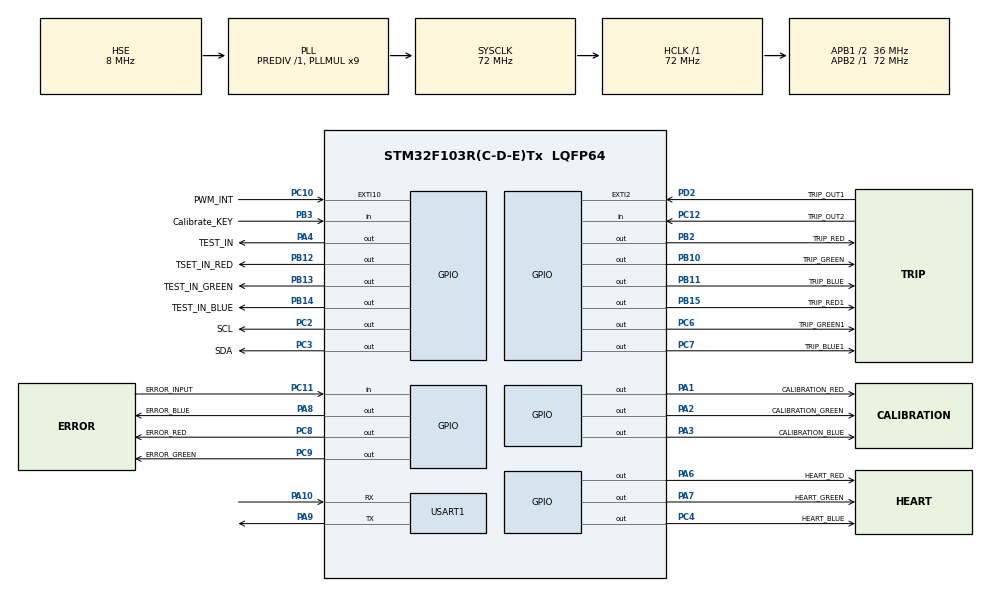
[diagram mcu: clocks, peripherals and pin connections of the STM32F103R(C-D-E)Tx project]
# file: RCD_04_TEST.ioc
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Mcu.Family=STM32F1
Mcu.Name=STM32F103R(C-D-E)Tx
Mcu.Package=LQFP64
NVIC.EXTI15_10_IRQn=true\:0\:0\:false\:false\:true\:true\:true\:true
NVIC.EXTI2_IRQn=true\:0\:0\:true\:false\:true\:true\:true\:true
NVIC.PriorityGroup=NVIC_PRIORITYGROUP_4
PA1.GPIO_Label=CALIBRATION_RED
PA1.PinState=GPIO_PIN_SET
PA1.Signal=GPIO_Output
PA10.Mode=Asynchronous
PA10.Signal=USART1_RX
PA13.Mode=Serial_Wire
PA13.Signal=SYS_JTMS-SWDIO
PA14.Mode=Serial_Wire
PA14.Signal=SYS_JTCK-SWCLK
PA2.GPIO_Label=CALIBRATION_GREEN
PA2.PinState=GPIO_PIN_SET
PA2.Signal=GPIO_Output
PA3.GPIO_Label=CALIBRATION_BLUE
PA3.PinState=GPIO_PIN_SET
PA3.Signal=GPIO_Output
PA4.GPIO_Label=TEST_IN
PA4.GPIO_PuPd=GPIO_PULLUP
PA4.GPIO_Speed=GPIO_SPEED_FREQ_HIGH
PA4.PinState=GPIO_PIN_SET
PA4.Signal=GPIO_Output
PA6.GPIO_Label=HEART_RED
PA6.PinState=GPIO_PIN_SET
PA6.Signal=GPIO_Output
PA7.GPIO_Label=HEART_GREEN
PA7.PinState=GPIO_PIN_SET
PA7.Signal=GPIO_Output
PA8.GPIO_Label=ERROR_BLUE
PA8.PinState=GPIO_PIN_SET
PA8.Signal=GPIO_Output
PA9.Mode=Asynchronous
PA9.Signal=USART1_TX
PB10.GPIO_Label=TRIP_GREEN
PB10.PinState=GPIO_PIN_SET
PB10.Signal=GPIO_Output
PB11.GPIO_Label=TRIP_BLUE
PB11.PinState=GPIO_PIN_SET
PB11.Signal=GPIO_Output
PB12.GPIO_Label=TSET_IN_RED
PB12.PinState=GPIO_PIN_SET
PB12.Signal=GPIO_Output
PB13.GPIO_Label=TEST_IN_GREEN
PB13.PinState=GPIO_PIN_SET
PB13.Signal=GPIO_Output
PB14.GPIO_Label=TEST_IN_BLUE
PB14.PinState=GPIO_PIN_SET
PB14.Signal=GPIO_Output
PB15.GPIO_Label=TRIP_RED1
PB15.PinState=GPIO_PIN_SET
PB15.Signal=GPIO_Output
PB2.GPIO_Label=TRIP_RED
PB2.PinState=GPIO_PIN_SET
PB2.Signal=GPIO_Output
PB3.GPIO_Label=Calibrate_KEY
PB3.GPIO_PuPd=GPIO_PULLDOWN
PB3.Signal=GPIO_Input
PC10.GPIO_Label=PWM_INT
PC10.GPIO_ModeDefaultEXTI=GPIO_MODE_IT_RISING_FALLING
PC10.GPIO_PuPd=GPIO_PULLDOWN
PC10.Signal=GPXTI10
PC11.GPIO_Label=ERROR_INPUT
PC11.GPIO_PuPd=GPIO_PULLDOWN
PC11.Signal=GPIO_Input
PC12.GPIO_Label=TRIP_OUT2
PC12.GPIO_PuPd=GPIO_PULLDOWN
PC12.Signal=GPIO_Input
PC2.GPIO_Label=SCL
PC2.GPIO_ModeDefaultOutputPP=GPIO_MODE_OUTPUT_OD
PC2.GPIO_PuPd=GPIO_PULLUP
PC2.GPIO_Speed=GPIO_SPEED_FREQ_HIGH
PC2.PinState=GPIO_PIN_SET
PC2.Signal=GPIO_Output
PC3.GPIO_Label=SDA
PC3.GPIO_ModeDefaultOutputPP=GPIO_MODE_OUTPUT_PP
PC3.GPIO_PuPd=GPIO_PULLUP
PC3.GPIO_Speed=GPIO_SPEED_FREQ_HIGH
PC3.PinState=GPIO_PIN_SET
PC3.Signal=GPIO_Output
PC4.GPIO_Label=HEART_BLUE
PC4.PinState=GPIO_PIN_SET
PC4.Signal=GPIO_Output
PC6.GPIO_Label=TRIP_GREEN1
PC6.PinState=GPIO_PIN_SET
PC6.Signal=GPIO_Output
PC7.GPIO_Label=TRIP_BLUE1
PC7.PinState=GPIO_PIN_SET
PC7.Signal=GPIO_Output
PC8.GPIO_Label=ERROR_RED
PC8.PinState=GPIO_PIN_SET
PC8.Signal=GPIO_Output
PC9.GPIO_Label=ERROR_GREEN
PC9.PinState=GPIO_PIN_SET
PC9.Signal=GPIO_Output
PD0-OSC_IN.Mode=HSE-External-Oscillator
PD0-OSC_IN.Signal=RCC_OSC_IN
PD1-OSC_OUT.Mode=HSE-External-Oscillator
PD1-OSC_OUT.Signal=RCC_OSC_OUT
PD2.GPIO_Label=TRIP_OUT1
PD2.GPIO_ModeDefaultEXTI=GPIO_MODE_IT_RISING_FALLING
PD2.GPIO_PuPd=GPIO_PULLDOWN
PD2.Signal=GPXTI2
ProjectManager.HeapSize=0x200
ProjectManager.StackSize=0x400
ProjectManager.TargetToolchain=STM32CubeIDE
RCC.AHBFreq_Value=72000000
RCC.APB1CLKDivider=RCC_HCLK_DIV2
RCC.APB1Freq_Value=36000000
RCC.APB1TimFreq_Value=72000000
RCC.APB2Freq_Value=72000000
RCC.APB2TimFreq_Value=72000000
RCC.HCLKFreq_Value=72000000
RCC.PLLMUL=RCC_PLL_MUL9
RCC.PLLSourceVirtual=RCC_PLLSOURCE_HSE
RCC.SYSCLKFreq_VALUE=72000000
RCC.SYSCLKSource=RCC_SYSCLKSOURCE_PLLCLK
RCC.USBFreq_Value=72000000
TIM1.Period=1000
TIM1.Prescaler=72-1
TIM2.AutoReloadPreload=TIM_AUTORELOAD_PRELOAD_DISABLE
TIM2.Prescaler=7200-1
USART1.VirtualMode=VM_ASYNC
VP_TIM1_VS_ClockSourceINT.Mode=Internal
VP_TIM2_VS_ClockSourceINT.Mode=Internal
board=custom

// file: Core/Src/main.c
/* USER CODE BEGIN Header */
/**
  ******************************************************************************
  * @file           : main.c
  * @brief          : Main program body
  ******************************************************************************
  * @attention
  *
  * Copyright (c) 2024 STMicroelectronics.
  * All rights reserved.
  *
  * This software is licensed under terms that can be found in the LICENSE file
  * in the root directory of this software component.
  * If no LICENSE file comes with this software, it is provided AS-IS.
  *
  ******************************************************************************
  */
/* USER CODE END Header */
#include "main.h"
#include "tim.h"
#include "usart.h"
#include "gpio.h"

/* USER CODE BEGIN Includes */
#include <stdio.h>
#include "oledbmp.h"
#include "bmp.h"
#include "oled_drive.h"
#include "led.h"
#include "stm32f1xx_it.h"
/* USER CODE END Includes */

/* USER CODE BEGIN PD */
void HAL_usDelay(uint32_t udelay);
void HAL_msDelay(uint32_t udelay);
/* USER CODE END PD */

/* USER CODE BEGIN PM */
#define FALSE 0
#define TRUE 1

#define SCL_H HAL_GPIO_WritePin(GPIOC, SCL_Pin, GPIO_PIN_SET)
#define SCL_L HAL_GPIO_WritePin(GPIOC, SCL_Pin, GPIO_PIN_RESET)

#define SDA_H HAL_GPIO_WritePin(GPIOC, SDA_Pin, GPIO_PIN_SET)
#define SDA_L HAL_GPIO_WritePin(GPIOC, SDA_Pin, GPIO_PIN_RESET)

#define SDA_read HAL_GPIO_ReadPin(GPIOC, SDA_Pin)

#define OLED_CMD 0
#define OLED_DATA 1
/* USER CODE END PM */

/* USER CODE BEGIN PV */
__IO float usDelayBase;
void PY_usDelayTest(void)
{
  __IO uint32_t firstms, secondms;
  __IO uint32_t counter = 0;

  firstms = HAL_GetTick()+1;
  secondms = firstms+1;

  while(uwTick!=firstms) ;

  while(uwTick!=secondms) counter++;

  usDelayBase = ((float)counter)/1000;
}

void PY_Delay_us_t(uint32_t Delay)
{
  __IO uint32_t delayReg;
  __IO uint32_t usNum = (uint32_t)(Delay*usDelayBase);

  delayReg = 0;
  while(delayReg!=usNum) delayReg++;
}

void PY_usDelayOptimize(void)
{
  __IO uint32_t firstms, secondms;
  __IO float coe = 1.0;

  firstms = HAL_GetTick();
  PY_Delay_us_t(1000000) ;
  secondms = HAL_GetTick();

  coe = ((float)1000)/(secondms-firstms);
  usDelayBase = coe*usDelayBase;
}

void PY_Delay_us(uint32_t Delay)
{
  __IO uint32_t delayReg;

  __IO uint32_t msNum = Delay/1000;
  __IO uint32_t usNum = (uint32_t)((Delay%1000)*usDelayBase);

  if(msNum>0) HAL_Delay(msNum);

  delayReg = 0;
  while(delayReg!=usNum) delayReg++;
}
/* USER CODE END PV */

void SystemClock_Config(void);

/* USER CODE BEGIN 0 */
void IIC_Init(void);
void IIC_Start(void);
void IIC_Stop(void);
void IIC_Send_Byte(uint8_t txd);
uint8_t IIC_Read_Byte(unsigned char ack);
uint8_t IIC_Wait_Ack(void);
void IIC_Ack(void);
void IIC_NAck(void);

#define SDA_IN()  my_SDA_IN()
#define SDA_OUT() my_SDA_OUT()

/* USER CODE END 0 */

int main(void)
{
  /* USER CODE BEGIN 1 */
  unsigned char high_time = 0;
  /* USER CODE END 1 */

  /* MCU Configuration--------------------------------------------------------*/

  /* Reset of all peripherals, Initializes the Flash interface and the Systick. */
  HAL_Init();

  /* Configure the system clock */
  SystemClock_Config();

  /* Initialize all configured peripherals */
  MX_GPIO_Init();
  MX_USART1_UART_Init();
  MX_TIM1_Init();
  MX_TIM2_Init();
  /* USER CODE BEGIN 2 */
  OLED_Init();

  /* USER CODE END 2 */

  /* Infinite loop */
  /* USER CODE BEGIN WHILE */
  PY_usDelayTest();
  PY_usDelayOptimize();

  OnOffLedLight(1,2,0);
  OnOffLedLight(2,2,0);
  OnOffLedLight(3,2,0);
  OnOffLedLight(4,2,0);
  OnOffLedLight(5,2,0);
  OnOffLedLight(6,2,0);

	OLED_Init();
	OLED_Clear();
	OLED_ShowString(0,0,"Current ",16);
	OLED_ShowString(0,2,"        XX.XXMA",12);

	HAL_TIM_Base_Start(&htim2);
  printf("init success\r\n");
//  test_in();

  while (1)
  {

	  if(HAL_GPIO_ReadPin(GPIOB, Calibrate_KEY_Pin) == 0)
	  {
		  HAL_msDelay(50);
		  while(HAL_GPIO_ReadPin(GPIOB, Calibrate_KEY_Pin) == 0);
		  test_in();

		  HAL_msDelay(3000);

		  if(Flag == 3)
		  {
			  OnOffLedLight(6,1,0); //Calibrate red
			  OnOffLedLight(6,2,1); //Calibrate green
		  }
		  else
		  {
			  Flag = 0;
			  OnOffLedLight(6,2,0);
		  }

		  printf("capture_start1: %ld\r\ncapture_start2: %ld\r\n",capture_start1,capture_start2);
		  printf("capture_end: %ld\r\n",capture_end1);
//		  printf("capture_time1: %ld\r\ncapture_time2: %ld\r\n",capture_time1,capture_time2);
		  printf("pwm_time: %d\r\n",Counter);

//		  printf("capture_time2 %d\r\n",capture_time2);

	  }

//	  printf("capture_time1 %d\r\n",capture_time1);
//	  printf("capture_time2 %d\r\n",capture_time2);

    /* USER CODE END WHILE */

    /* USER CODE BEGIN 3 */
//	  if(HAL_GPIO_ReadPin(GPIOC, ERROR_INPUT_Pin))
//	  {
//		  OnOffLedLight(4,2,1);
//	  }
//	  else if(HAL_GPIO_ReadPin(GPIOC, ERROR_INPUT_Pin) == 0)
//	  {
//		  OnOffLedLight(4,2,0);
//	  }
//
//	  if(HAL_GPIO_ReadPin(GPIOB, Calibrate_KEY_Pin) == 0)
//	  {
//		  HAL_msDelay(20);
//		  while(HAL_GPIO_ReadPin(GPIOB, Calibrate_KEY_Pin) == 0);
//		  HAL_GPIO_WritePin(GPIOA, TEST_IN_Pin, GPIO_PIN_RESET);
//		  HAL_msDelay(100);
//		  HAL_GPIO_WritePin(GPIOA, TEST_IN_Pin, GPIO_PIN_SET);
//	  }
//	 if(PWM_Flag)
//	 {
//		 PWM_Flag = 0;
//		 printf("Counter %d\r\n",Counter);
//		 HAL_msDelay(1000);
//	 }
  }
  /* USER CODE END 3 */
}

void SystemClock_Config(void)
{
  RCC_OscInitTypeDef RCC_OscInitStruct = {0};
  RCC_ClkInitTypeDef RCC_ClkInitStruct = {0};

  /** Initializes the RCC Oscillators according to the specified parameters
  * in the RCC_OscInitTypeDef structure.
  */
  RCC_OscInitStruct.OscillatorType = RCC_OSCILLATORTYPE_HSE;
  RCC_OscInitStruct.HSEState = RCC_HSE_ON;
  RCC_OscInitStruct.HSEPredivValue = RCC_HSE_PREDIV_DIV1;
  RCC_OscInitStruct.HSIState = RCC_HSI_ON;
  RCC_OscInitStruct.PLL.PLLState = RCC_PLL_ON;
  RCC_OscInitStruct.PLL.PLLSource = RCC_PLLSOURCE_HSE;
  RCC_OscInitStruct.PLL.PLLMUL = RCC_PLL_MUL9;
  if (HAL_RCC_OscConfig(&RCC_OscInitStruct) != HAL_OK)
  {
    Error_Handler();
  }

  /** Initializes the CPU, AHB and APB buses clocks
  */
  RCC_ClkInitStruct.ClockType = RCC_CLOCKTYPE_HCLK|RCC_CLOCKTYPE_SYSCLK
                              |RCC_CLOCKTYPE_PCLK1|RCC_CLOCKTYPE_PCLK2;
  RCC_ClkInitStruct.SYSCLKSource = RCC_SYSCLKSOURCE_PLLCLK;
  RCC_ClkInitStruct.AHBCLKDivider = RCC_SYSCLK_DIV1;
  RCC_ClkInitStruct.APB1CLKDivider = RCC_HCLK_DIV2;
  RCC_ClkInitStruct.APB2CLKDivider = RCC_HCLK_DIV1;

  if (HAL_RCC_ClockConfig(&RCC_ClkInitStruct, FLASH_LATENCY_2) != HAL_OK)
  {
    Error_Handler();
  }
}

/* USER CODE BEGIN 4 */
void HAL_usDelay(uint32_t udelay)
{
  uint32_t startval,tickn,delays,wait;

  startval = SysTick->VAL;
  tickn = HAL_GetTick();

  delays =udelay * 72;
  if(delays > startval)
  {
    while(HAL_GetTick() == tickn);
    wait = 72000 + startval - delays;
    while(wait < SysTick->VAL);
  }
  else
  {
    wait = startval - delays;
    while(wait < SysTick->VAL && HAL_GetTick() == tickn);
  }
}

void HAL_msDelay(uint32_t udelay)
{
	uint16_t i = 0;
	for(i = 0;i < udelay;i++)
	{
		HAL_usDelay(1000);
	}
}

void test_in()
{
	HAL_GPIO_WritePin(GPIOA, TEST_IN_Pin, GPIO_PIN_RESET);
	HAL_msDelay(375);
	HAL_GPIO_WritePin(GPIOA, TEST_IN_Pin, GPIO_PIN_SET);
	HAL_msDelay(200);
	HAL_GPIO_WritePin(GPIOA, TEST_IN_Pin, GPIO_PIN_RESET);

	HAL_GPIO_TogglePin(CALIBRATION_RED_GPIO_Port, CALIBRATION_RED_Pin);
//	OnOffLedLight(6,1,1);

}

void my_SDA_IN(void)
{
	GPIO_InitTypeDef GPIO_InitStruct= {0};
	GPIO_InitStruct.Pin = SDA_Pin;
	GPIO_InitStruct.Mode = GPIO_MODE_INPUT;
	GPIO_InitStruct.Pull = GPIO_PULLUP;
	GPIO_InitStruct.Speed = GPIO_SPEED_FREQ_HIGH;
	HAL_GPIO_Init(GPIOA, &GPIO_InitStruct);
}
void my_SDA_OUT(void)
{
	GPIO_InitTypeDef GPIO_InitStruct;
	GPIO_InitStruct.Pin = SDA_Pin;
	GPIO_InitStruct.Mode = GPIO_MODE_OUTPUT_PP;
	GPIO_InitStruct.Pull = GPIO_NOPULL;
	GPIO_InitStruct.Speed = GPIO_SPEED_FREQ_HIGH;
	HAL_GPIO_Init(GPIOA, &GPIO_InitStruct);
}

void IIC_Init(void)
{
	my_SDA_OUT();
	SDA_L;
	SCL_L;
//	SDA_H;
//	SCL_H;
}

void IIC_Start(void)
{
	SDA_OUT();
	SDA_H;
	SCL_H;
	HAL_usDelay(5);
 	SDA_L;
 	HAL_usDelay(5);
	SCL_L;
}

void IIC_Stop(void)
{
	SDA_OUT();
	SCL_L;
	SDA_L;
	HAL_usDelay(4);
	SCL_H;
	SDA_H;
	HAL_usDelay(4);
}

uint8_t IIC_Wait_Ack(void)
{
	uint8_t ucErrTime=0;
	SDA_IN();
	SDA_H;HAL_usDelay(1);
	SCL_H;HAL_usDelay(1);
	while(SDA_read)
	{
		ucErrTime++;
		if(ucErrTime>250)
		{
			IIC_Stop();
			return 1;
		}
	}
	SCL_L;
	return 0;
}

void IIC_Ack(void)
{
	SCL_L;
	SDA_OUT();
	SDA_L;
	HAL_usDelay(2);
	SCL_H;
	HAL_usDelay(2);
	SCL_L;
}

void IIC_NAck(void)
{
	SCL_L;
	SDA_OUT();
	SDA_H;
	HAL_usDelay(2);
	SCL_H;
	HAL_usDelay(2);
	SCL_L;
}

void IIC_Send_Byte(uint8_t txd)
{
    uint8_t t;
	SDA_OUT();
    SCL_L;
    for(t=0;t<8;t++)
    {
		if((txd&0x80)>>7)
			SDA_H;
		else
			SDA_L;
		txd<<=1;
		HAL_usDelay(2);
		SCL_H;
		HAL_usDelay(2);
		SCL_L;
		HAL_usDelay(2);
    }
}

uint8_t IIC_Read_Byte(unsigned char ack)
{
	unsigned char i,receive=0;
	SDA_IN();
    for(i=0;i<8;i++ )
	{
        SCL_L;
        HAL_usDelay(2);
		SCL_H;
        receive<<=1;
        if(SDA_read)receive++;
        HAL_usDelay(1);
    }
    if (!ack)
        IIC_NAck();
    else
        IIC_Ack();
    return receive;
}

void OLED_WR_Byte(uint8_t dat,uint8_t mode)
{
	IIC_Start();
	IIC_Send_Byte(0x78);
	IIC_Wait_Ack();
	if(mode)
		IIC_Send_Byte(0x40);
	else
		IIC_Send_Byte(0x00);
	IIC_Wait_Ack();
	IIC_Send_Byte(dat);
	IIC_Wait_Ack();
	IIC_Stop();
}

// fill_Picture
void fill_picture(unsigned char fill_Data)
{
	unsigned char m,n;
	for(m=0;m<8;m++)
	{
		OLED_WR_Byte(0xb0+m,0);		//page0-page1
		OLED_WR_Byte(0x00,0);		//low column start address
		OLED_WR_Byte(0x10,0);		//high column start address
		for(n=0;n<128;n++)
			{
				OLED_WR_Byte(fill_Data,1);
			}
	}
}
void OLED_Set_Pos(unsigned char x, unsigned char y)
{ 	OLED_WR_Byte(0xb0+y,OLED_CMD);
	OLED_WR_Byte(((x&0xf0)>>4)|0x10,OLED_CMD);
	OLED_WR_Byte((x&0x0f),OLED_CMD);
}

void OLED_Display_On(void)
{
	OLED_WR_Byte(0X8D,OLED_CMD);  //SET DCDC
	OLED_WR_Byte(0X14,OLED_CMD);  //DCDC ON
	OLED_WR_Byte(0XAF,OLED_CMD);  //DISPLAY ON
}

void OLED_Display_Off(void)
{
	OLED_WR_Byte(0X8D,OLED_CMD);  //SET DCDC
	OLED_WR_Byte(0X10,OLED_CMD);  //DCDC OFF
	OLED_WR_Byte(0XAE,OLED_CMD);  //DISPLAY OFF
}

void OLED_Clear(void)
{
	uint8_t i,n;
	for(i=0;i<8;i++)
	{
		OLED_WR_Byte(0xb0+i,OLED_CMD);
		OLED_WR_Byte(0x00,OLED_CMD);
		OLED_WR_Byte(0x10,OLED_CMD);
		for(n=0;n<128;n++)OLED_WR_Byte(0,OLED_DATA);
	}
}
void OLED_On(void)
{
	uint8_t i,n;
	for(i=0;i<8;i++)
	{
		OLED_WR_Byte (0xb0+i,OLED_CMD);
		OLED_WR_Byte (0x00,OLED_CMD);
		OLED_WR_Byte (0x10,OLED_CMD);
		for(n=0;n<128;n++)OLED_WR_Byte(1,OLED_DATA);
	}
}

void OLED_ShowChar(uint8_t x,uint8_t y,uint8_t chr,uint8_t Char_Size)
{
	unsigned char c=0,i=0;
		c=chr-' ';
		if(x>Max_Column-1){x=0;y=y+2;}
		if(Char_Size ==16)
			{
			OLED_Set_Pos(x,y);
			for(i=0;i<8;i++)
			OLED_WR_Byte(F8X16[c*16+i],OLED_DATA);
			OLED_Set_Pos(x,y+1);
			for(i=0;i<8;i++)
			OLED_WR_Byte(F8X16[c*16+i+8],OLED_DATA);
			}
			else {
				OLED_Set_Pos(x,y);
				for(i=0;i<6;i++)
				OLED_WR_Byte(F6x8[c][i],OLED_DATA);

			}
}

uint32_t oled_pow(uint8_t m,uint8_t n)
{
	uint32_t result=1;
	while(n--)result*=m;
	return result;
}

void OLED_ShowNum(uint8_t x,uint8_t y,uint32_t num,uint8_t len,uint8_t size2)
{
	uint8_t t,temp;
	uint8_t enshow=0;
	for(t=0;t<len;t++)
	{
		temp=(num/oled_pow(10,len-t-1))%10;
		if(enshow==0&&t<(len-1))
		{
			if(temp==0)
			{
				OLED_ShowChar(x+(size2/2)*t,y,' ',size2);
				continue;
			}else enshow=1;

		}
	 	OLED_ShowChar(x+(size2/2)*t,y,temp+'0',size2);
	}
}

void OLED_ShowString(uint8_t x,uint8_t y,uint8_t *chr,uint8_t Char_Size)
{
	unsigned char j=0;
	while (chr[j]!='\0')
	{		OLED_ShowChar(x,y,chr[j],Char_Size);
			x+=8;
		if(x>120){x=0;y+=2;}
			j++;
	}
}

void OLED_ShowCHinese(uint8_t x,uint8_t y,uint8_t no)
{
	uint8_t t;
	OLED_Set_Pos(x,y);
    for(t=0;t<16;t++)
	{
		OLED_WR_Byte(Hzk[2*no][t],OLED_DATA);

    }
		OLED_Set_Pos(x,y+1);
    for(t=0;t<16;t++)
	{
		OLED_WR_Byte(Hzk[2*no+1][t],OLED_DATA);
    }
}

void OLED_DrawBMP(unsigned char x0, unsigned char y0,unsigned char x1, unsigned char y1,unsigned char BMP[])
{
 unsigned int j=0;
 unsigned char x,y;

  if(y1%8==0) y=y1/8;
  else y=y1/8+1;
	for(y=y0;y<y1;y++)
	{
		OLED_Set_Pos(x0,y);
    for(x=x0;x<x1;x++)
	    {
	    	OLED_WR_Byte(BMP[j++],OLED_DATA);
	    }
	}
}

void OLED_Init(void)
{
    PY_Delay_us_t(200000);
    OLED_WR_Byte(0xAE,OLED_CMD);

	OLED_WR_Byte(0x40,OLED_CMD);//---set low column address
	OLED_WR_Byte(0xB0,OLED_CMD);//---set high column address

	OLED_WR_Byte(0xC8,OLED_CMD);//-not offset

	OLED_WR_Byte(0x81,OLED_CMD);
	OLED_WR_Byte(0xff,OLED_CMD);

	OLED_WR_Byte(0xa1,OLED_CMD);

	OLED_WR_Byte(0xa6,OLED_CMD);

	OLED_WR_Byte(0xa8,OLED_CMD);
	OLED_WR_Byte(0x1f,OLED_CMD);

	OLED_WR_Byte(0xd3,OLED_CMD);
	OLED_WR_Byte(0x00,OLED_CMD);

	OLED_WR_Byte(0xd5,OLED_CMD);
	OLED_WR_Byte(0xf0,OLED_CMD);

	OLED_WR_Byte(0xd9,OLED_CMD);
	OLED_WR_Byte(0x22,OLED_CMD);

	OLED_WR_Byte(0xda,OLED_CMD);
	OLED_WR_Byte(0x02,OLED_CMD);

	OLED_WR_Byte(0xdb,OLED_CMD);
	OLED_WR_Byte(0x49,OLED_CMD);

	OLED_WR_Byte(0x8d,OLED_CMD);
	OLED_WR_Byte(0x14,OLED_CMD);

	OLED_WR_Byte(0xaf,OLED_CMD);
	OLED_Clear();
}

/* USER CODE END 4 */

void Error_Handler(void)
{
  __disable_irq();
  while (1)
  {
  }
}
